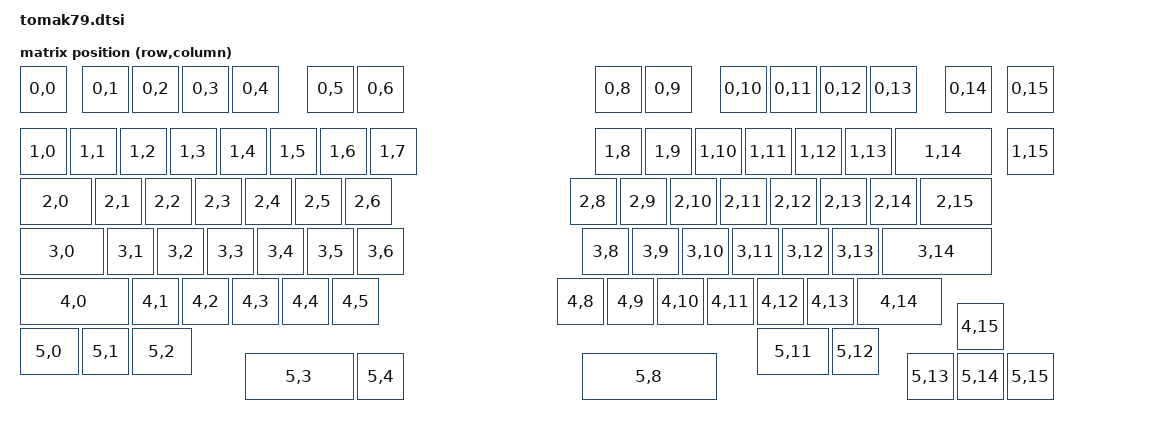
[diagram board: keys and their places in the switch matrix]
#include <dt-bindings/zmk/matrix_transform.h>
#include <dt-bindings/led/led.h>
#include <physical_layouts.dtsi>

/ {
    chosen {
        zmk,physical-layout = &physical_layout0;
    };

    physical_layout0: physical_layout_0 {
        compatible = "zmk,physical-layout";
        display-name = "Default";
        transform = <&default_transform>;

        keys
            = <&key_physical_attrs 100 100    0    0       0    0    0>   // 00: ESC [LEFT R0 C0]
            , <&key_physical_attrs 100 100  125    0       0    0    0>   // 01: F1 [LEFT R0 C1]
            , <&key_physical_attrs 100 100  225    0       0    0    0>   // 02: F2 [LEFT R0 C2]
            , <&key_physical_attrs 100 100  325    0       0    0    0>   // 03: F3 [LEFT R0 C3]
            , <&key_physical_attrs 100 100  425    0       0    0    0>   // 04: F4 [LEFT R0 C4]
            , <&key_physical_attrs 100 100  575    0       0    0    0>   // 05: F5 [LEFT R0 C5]
            , <&key_physical_attrs 100 100  675    0       0    0    0>   // 06: F6 [LEFT R0 C6]
            , <&key_physical_attrs 100 100 1150    0       0    0    0>   // 07: F7 [RIGHT R0 C0]
            , <&key_physical_attrs 100 100 1250    0       0    0    0>   // 08: F8 [RIGHT R0 C1]
            , <&key_physical_attrs 100 100 1400    0       0    0    0>   // 09: F9 [RIGHT R0 C2]
            , <&key_physical_attrs 100 100 1500    0       0    0    0>   // 10: F10 [RIGHT R0 C3]
            , <&key_physical_attrs 100 100 1600    0       0    0    0>   // 11: F11 [RIGHT R0 C4]
            , <&key_physical_attrs 100 100 1700    0       0    0    0>   // 12: F12 [RIGHT R0 C5]
            , <&key_physical_attrs 100 100 1850    0       0    0    0>   // 13: F13 [RIGHT R0 C6]
            , <&key_physical_attrs 100 100 1975    0       0    0    0>   // 14: PTR [RIGHT R0 C7]

            , <&key_physical_attrs 100 100    0  125       0    0    0>   // 15: ~ [LEFT R1 C0]
            , <&key_physical_attrs 100 100  100  125       0    0    0>   // 16: 1 [LEFT R1 C1]
            , <&key_physical_attrs 100 100  200  125       0    0    0>   // 17: 2 [LEFT R1 C2]
            , <&key_physical_attrs 100 100  300  125       0    0    0>   // 18: 3 [LEFT R1 C3]
            , <&key_physical_attrs 100 100  400  125       0    0    0>   // 19: 4 [LEFT R1 C4]
            , <&key_physical_attrs 100 100  500  125       0    0    0>   // 20: 5 [LEFT R1 C5]
            , <&key_physical_attrs 100 100  600  125       0    0    0>   // 21: 6 [LEFT R1 C6]
            , <&key_physical_attrs 100 100  700  125       0    0    0>   // 22: 7 [LEFT R1 C7]
            , <&key_physical_attrs 100 100 1150  125       0    0    0>   // 23: 7 [RIGHT R1 C0]
            , <&key_physical_attrs 100 100 1250  125       0    0    0>   // 24: 8 [RIGHT R1 C1]
            , <&key_physical_attrs 100 100 1350  125       0    0    0>   // 25: 9 [RIGHT R1 C2]
            , <&key_physical_attrs 100 100 1450  125       0    0    0>   // 26: 0 [RIGHT R1 C3]
            , <&key_physical_attrs 100 100 1550  125       0    0    0>   // 27: - [RIGHT R1 C4]
            , <&key_physical_attrs 100 100 1650  125       0    0    0>   // 28: = [RIGHT R1 C5]
            , <&key_physical_attrs 200 100 1750  125       0    0    0>   // 29: BACK [RIGHT R1 C6]
            , <&key_physical_attrs 100 100 1975  125       0    0    0>   // 30: INS [RIGHT R1 C7]

            , <&key_physical_attrs 150 100    0  225       0    0    0>   // 31: TAB [LEFT R2 C0]
            , <&key_physical_attrs 100 100  150  225       0    0    0>   // 32: Q [LEFT R2 C1]
            , <&key_physical_attrs 100 100  250  225       0    0    0>   // 33: W [LEFT R2 C2]
            , <&key_physical_attrs 100 100  350  225       0    0    0>   // 34: E [LEFT R2 C3]
            , <&key_physical_attrs 100 100  450  225       0    0    0>   // 35: R [LEFT R2 C4]
            , <&key_physical_attrs 100 100  550  225       0    0    0>   // 36: T [LEFT R2 C5]
            , <&key_physical_attrs 100 100  650  225       0    0    0>   // 37: Y [LEFT R2 C6]
            , <&key_physical_attrs 100 100 1100  225       0    0    0>   // 38: Y [RIGHT R2 C0]
            , <&key_physical_attrs 100 100 1200  225       0    0    0>   // 39: U [RIGHT R2 C1]
            , <&key_physical_attrs 100 100 1300  225       0    0    0>   // 40: I [RIGHT R2 C2]
            , <&key_physical_attrs 100 100 1400  225       0    0    0>   // 41: O [RIGHT R2 C3]
            , <&key_physical_attrs 100 100 1500  225       0    0    0>   // 42: P [RIGHT R2 C4]
            , <&key_physical_attrs 100 100 1600  225       0    0    0>   // 43: [ [RIGHT R2 C5]
            , <&key_physical_attrs 100 100 1700  225       0    0    0>   // 44: ] [RIGHT R2 C6]
            , <&key_physical_attrs 150 100 1800  225       0    0    0>   // 45: BACKSLASH [RIGHT R2 C7]

            , <&key_physical_attrs 175 100    0  325       0    0    0>   // 46: CAP [LEFT R3 C0]
            , <&key_physical_attrs 100 100  175  325       0    0    0>   // 47: A [LEFT R3 C1]
            , <&key_physical_attrs 100 100  275  325       0    0    0>   // 48: S [LEFT R3 C2]
            , <&key_physical_attrs 100 100  375  325       0    0    0>   // 49: D [LEFT R3 C3]
            , <&key_physical_attrs 100 100  475  325       0    0    0>   // 50: F [LEFT R3 C4]
            , <&key_physical_attrs 100 100  575  325       0    0    0>   // 51: G [LEFT R3 C5]
            , <&key_physical_attrs 100 100  675  325       0    0    0>   // 52: H [LEFT R3 C6]
            , <&key_physical_attrs 100 100 1125  325       0    0    0>   // 53: H [RIGHT R3 C0]
            , <&key_physical_attrs 100 100 1225  325       0    0    0>   // 54: J [RIGHT R3 C1]
            , <&key_physical_attrs 100 100 1325  325       0    0    0>   // 55: K [RIGHT R3 C2]
            , <&key_physical_attrs 100 100 1425  325       0    0    0>   // 56: L [RIGHT R3 C3]
            , <&key_physical_attrs 100 100 1525  325       0    0    0>   // 57: ; [RIGHT R3 C4]
            , <&key_physical_attrs 100 100 1625  325       0    0    0>   // 58: ' [RIGHT R3 C5]
            , <&key_physical_attrs 225 100 1725  325       0    0    0>   // 59: ENTER [RIGHT R3 C6]

            , <&key_physical_attrs 225 100    0  425       0    0    0>   // 60: SHIFT [LEFT R4 C0]
            , <&key_physical_attrs 100 100  225  425       0    0    0>   // 61: Z [LEFT R4 C1]
            , <&key_physical_attrs 100 100  325  425       0    0    0>   // 62: X [LEFT R4 C2]
            , <&key_physical_attrs 100 100  425  425       0    0    0>   // 63: C [LEFT R4 C3]
            , <&key_physical_attrs 100 100  525  425       0    0    0>   // 64: V [LEFT R4 C4]
            , <&key_physical_attrs 100 100  625  425       0    0    0>   // 65: B [LEFT R4 C5]
            , <&key_physical_attrs 100 100 1075  425       0    0    0>   // 66: B [RIGHT R4 C0]
            , <&key_physical_attrs 100 100 1175  425       0    0    0>   // 67: N [RIGHT R4 C1]
            , <&key_physical_attrs 100 100 1275  425       0    0    0>   // 68: M [RIGHT R4 C2]
            , <&key_physical_attrs 100 100 1375  425       0    0    0>   // 69: < [RIGHT R4 C3]
            , <&key_physical_attrs 100 100 1475  425       0    0    0>   // 70: > [RIGHT R4 C4]
            , <&key_physical_attrs 100 100 1575  425       0    0    0>   // 71: / [RIGHT R4 C5]
            , <&key_physical_attrs 175 100 1675  425       0    0    0>   // 72: SHIFT [RIGHT R4 C6]
            , <&key_physical_attrs 100 100 1875  475       0    0    0>   // 73: UP [RIGHT R4 C7]

            , <&key_physical_attrs 125 100    0  525       0    0    0>   // 74: CTL [LEFT R5 C0]
            , <&key_physical_attrs 100 100  125  525       0    0    0>   // 75: FN [LEFT R5 C1]
            , <&key_physical_attrs 125 100  225  525       0    0    0>   // 76: ALT [LEFT R5 C2]
            , <&key_physical_attrs 150 100 1475  525       0    0    0>   // 77: BLK [RIGHT R5 C3]
            , <&key_physical_attrs 100 100 1625  525       0    0    0>   // 78: BLK [RIGHT R5 C4]
            , <&key_physical_attrs 225 100  450  575       0    0    0>   // 79: SPACE [LEFT R5 C3]
            , <&key_physical_attrs 100 100  675  575       0    0    0>   // 80: BLK [LEFT R5 C4]
            , <&key_physical_attrs 275 100 1125  575       0    0    0>   // 81: SPACE [RIGHT R5 C0]
            , <&key_physical_attrs 100 100 1775  575       0    0    0>   // 82: LEFT [RIGHT R5 C5]
            , <&key_physical_attrs 100 100 1875  575       0    0    0>   // 83: DOWN [RIGHT R5 C6]
            , <&key_physical_attrs 100 100 1975  575       0    0    0>   // 84: RIGHT [RIGHT R5 C7]
            ;
    };

    default_transform: keymap_transform_0 {
        compatible = "zmk,matrix-transform";
        columns = <16>;
        rows = <6>;

        map = <
            // KLE row 0
            RC(0,0)  RC(0,1)  RC(0,2)  RC(0,3)  RC(0,4)  RC(0,5)  RC(0,6)  RC(0,8)  RC(0,9)  RC(0,10) RC(0,11) RC(0,12) RC(0,13) RC(0,14) RC(0,15)
            // KLE row 1
            RC(1,0)  RC(1,1)  RC(1,2)  RC(1,3)  RC(1,4)  RC(1,5)  RC(1,6)  RC(1,7)  RC(1,8)  RC(1,9)  RC(1,10) RC(1,11) RC(1,12) RC(1,13) RC(1,14) RC(1,15)
            // KLE row 2
            RC(2,0)  RC(2,1)  RC(2,2)  RC(2,3)  RC(2,4)  RC(2,5)  RC(2,6)  RC(2,8)  RC(2,9)  RC(2,10) RC(2,11) RC(2,12) RC(2,13) RC(2,14) RC(2,15)
            // KLE row 3
            RC(3,0)  RC(3,1)  RC(3,2)  RC(3,3)  RC(3,4)  RC(3,5)  RC(3,6)  RC(3,8)  RC(3,9)  RC(3,10) RC(3,11) RC(3,12) RC(3,13) RC(3,14)
            // KLE row 4
            RC(4,0)  RC(4,1)  RC(4,2)  RC(4,3)  RC(4,4)  RC(4,5)  RC(4,8)  RC(4,9)  RC(4,10) RC(4,11) RC(4,12) RC(4,13) RC(4,14)
            // KLE row 5
            RC(4,15)
            // KLE row 6
            RC(5,0)  RC(5,1)  RC(5,2)  RC(5,11) RC(5,12)
            // KLE row 7
            RC(5,3)  RC(5,4)  RC(5,8)  RC(5,13) RC(5,14) RC(5,15)
        >;
    };
};

&pinctrl {
    spi3_default: spi3_default {
        group1 {
            psels = <NRF_PSEL(SPIM_MOSI, 0, 10)>;
        };
    };

    spi3_sleep: spi3_sleep {
        group1 {
            psels = <NRF_PSEL(SPIM_MOSI, 0, 10)>;
            low-power-enable;
        };
    };
};

&spi3 {
    compatible = "nordic,nrf-spim";
    status = "okay";
    pinctrl-0 = <&spi3_default>;
    pinctrl-1 = <&spi3_sleep>;
    pinctrl-names = "default", "sleep";

    led_strip: ws2812@0 {
        compatible = "worldsemi,ws2812-spi";
        reg = <0>;
        spi-max-frequency = <4000000>;
        chain-length = <48>;
        spi-one-frame = <0x70>;
        spi-zero-frame = <0x40>;
        color-mapping = <LED_COLOR_ID_GREEN
                         LED_COLOR_ID_RED
                         LED_COLOR_ID_BLUE>;
    };
};
